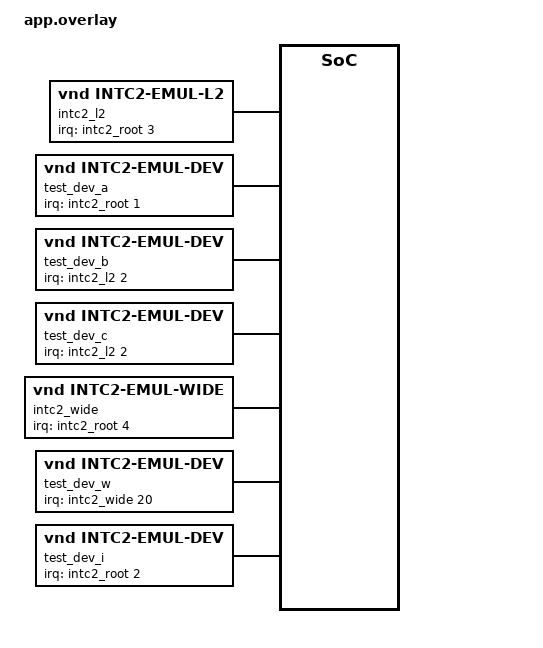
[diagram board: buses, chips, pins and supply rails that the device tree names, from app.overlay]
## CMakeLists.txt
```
# SPDX-License-Identifier: Apache-2.0

cmake_minimum_required(VERSION 3.20.0)
find_package(Zephyr REQUIRED HINTS $ENV{ZEPHYR_BASE})
project(intc2)

FILE(GLOB app_sources src/*.c)
list(FILTER app_sources EXCLUDE REGEX "emul_alloc_intc\\.c$")
target_sources(app PRIVATE ${app_sources})

if(CONFIG_INTC2_ALLOC)
  target_sources(app PRIVATE src/emul_alloc_intc.c)
endif()
```

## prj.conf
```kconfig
CONFIG_ZTEST=y
CONFIG_INTC2=y
CONFIG_IRQ_OFFLOAD=y
# This suite exercises the generic software-dispatch-table mechanism
# with its own emulated controllers; on x86 the real IOAPIC/LOAPIC are
# self-dispatching (INTC2_ARCH_VECTORED), which is incompatible with
# table-based nodes, so keep the platform APIC intc2 nodes out of it
# (x86's real intc2 path is covered by intc_x86_apic_intc2).
CONFIG_INTC2_X86_APIC=n
```

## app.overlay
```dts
/*
 * Copyright (c) 2026 Yong Cong Sin <yongcong.sin@gmail.com>
 *
 * SPDX-License-Identifier: Apache-2.0
 */

/ {
	intc2_root: intc2-root {
		compatible = "vnd,intc2-emul";
		interrupt-controller;
		#interrupt-cells = <1>;
	};

	intc2_l2: intc2-l2 {
		compatible = "vnd,intc2-emul-l2";
		interrupt-controller;
		#interrupt-cells = <2>;
		interrupts-extended = <&intc2_root 3>;
	};

	test_dev_a: test-dev-a {
		compatible = "vnd,intc2-emul-dev";
		interrupts-extended = <&intc2_root 1>;
	};

	test_dev_b: test-dev-b {
		compatible = "vnd,intc2-emul-dev";
		interrupts-extended = <&intc2_l2 2 5>;
	};

	/* Shares intc2_l2 line 2 with test_dev_b; only connected when
	 * CONFIG_INTC2_SHARED is enabled.
	 */
	test_dev_c: test-dev-c {
		compatible = "vnd,intc2-emul-dev";
		interrupts-extended = <&intc2_l2 2 6>;
	};

	/* 32-line controller with a single consumer: gets a sparse
	 * dispatch table (unless CONFIG_INTC2_DYNAMIC forces dense).
	 */
	intc2_wide: intc2-wide {
		compatible = "vnd,intc2-emul-wide";
		interrupt-controller;
		#interrupt-cells = <2>;
		interrupts-extended = <&intc2_root 4>;
	};

	test_dev_w: test-dev-w {
		compatible = "vnd,intc2-emul-dev";
		interrupts-extended = <&intc2_wide 20 3>;
	};

	/* Connected from function position via INTC2_DT_CONNECT_INLINE() */
	test_dev_i: test-dev-i {
		compatible = "vnd,intc2-emul-dev";
		interrupts-extended = <&intc2_root 2>;
	};
};
```

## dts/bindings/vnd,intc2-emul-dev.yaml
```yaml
# Copyright (c) 2026 Yong Cong Sin <yongcong.sin@gmail.com>
# SPDX-License-Identifier: Apache-2.0

description: Emulated intc2 leaf interrupt consumer (test only)

compatible: "vnd,intc2-emul-dev"

include: base.yaml
```

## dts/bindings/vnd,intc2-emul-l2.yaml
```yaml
# Copyright (c) 2026 Yong Cong Sin <yongcong.sin@gmail.com>
# SPDX-License-Identifier: Apache-2.0

description: Emulated intc2 chained interrupt controller (test only)

compatible: "vnd,intc2-emul-l2"

include: [interrupt-controller.yaml, base.yaml]

properties:
  "#interrupt-cells":
    const: 2

interrupt-cells:
  - irq
  - priority
```

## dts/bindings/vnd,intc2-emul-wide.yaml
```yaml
# Copyright (c) 2026 Yong Cong Sin <yongcong.sin@gmail.com>
# SPDX-License-Identifier: Apache-2.0

description: Emulated intc2 wide (32-line) chained interrupt controller (test only)

compatible: "vnd,intc2-emul-wide"

include: [interrupt-controller.yaml, base.yaml]

properties:
  "#interrupt-cells":
    const: 2

interrupt-cells:
  - irq
  - priority
```

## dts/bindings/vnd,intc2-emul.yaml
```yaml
# Copyright (c) 2026 Yong Cong Sin <yongcong.sin@gmail.com>
# SPDX-License-Identifier: Apache-2.0

description: Emulated intc2 root interrupt controller (test only)

compatible: "vnd,intc2-emul"

include: [interrupt-controller.yaml, base.yaml]

properties:
  "#interrupt-cells":
    const: 1

interrupt-cells:
  - irq
```

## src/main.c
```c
/*
 * Copyright (c) 2026 Yong Cong Sin <yongcong.sin@gmail.com>
 *
 * SPDX-License-Identifier: Apache-2.0
 */

#include "emul_intc.h"
#ifdef CONFIG_INTC2_ALLOC
#include "emul_alloc_intc.h"
#endif

#include <zephyr/intc2.h>
#include <zephyr/irq_offload.h>
#include <zephyr/ztest.h>
#ifdef CONFIG_INTC2_SHELL
#include <zephyr/shell/shell.h>
#include <zephyr/shell/shell_dummy.h>
#endif

#define ROOT_NODE  DT_NODELABEL(intc2_root)
#define L2_NODE    DT_NODELABEL(intc2_l2)
#define DEV_A_NODE DT_NODELABEL(test_dev_a)
#define DEV_B_NODE DT_NODELABEL(test_dev_b)
#define DEV_C_NODE DT_NODELABEL(test_dev_c)

#define WIDE_NODE  DT_NODELABEL(intc2_wide)
#define DEV_W_NODE DT_NODELABEL(test_dev_w)

#define ROOT INTC2_NODE_DT_GET(ROOT_NODE)
#define L2   INTC2_NODE_DT_GET(L2_NODE)
#define WIDE INTC2_NODE_DT_GET(WIDE_NODE)

#define DEV_A_PRIO 2

static const uint32_t a_token;

static volatile uint32_t seq;
static volatile uint32_t a_count, b_count, c_count, dyn_count;
static volatile uint32_t b_seq, c_seq;
static volatile const void *a_arg;
static volatile uint32_t spurious_count;

/* Overrides the __weak fatal-error default so tests can observe it */
void z_intc2_spurious(const struct intc2_node *node, int32_t line)
{
	ARG_UNUSED(node);
	ARG_UNUSED(line);

	spurious_count++;
}

static void dev_a_isr(const void *arg)
{
	a_count++;
	a_arg = arg;
	seq++;
}

static void dev_b_isr(const void *arg)
{
	ARG_UNUSED(arg);

	b_count++;
	b_seq = seq++;
}

INTC2_DT_CONNECT(DEV_A_NODE, DEV_A_PRIO, dev_a_isr, &a_token, 0);
INTC2_DT_CONNECT(DEV_B_NODE, DT_IRQ_BY_IDX(DEV_B_NODE, 0, priority), dev_b_isr, NULL, 0);

static volatile uint32_t w_count;

static void dev_w_isr(const void *arg)
{
	ARG_UNUSED(arg);

	w_count++;
}

INTC2_DT_CONNECT(DEV_W_NODE, DT_IRQ_BY_IDX(DEV_W_NODE, 0, priority), dev_w_isr, NULL, 0);

#ifdef CONFIG_INTC2_SHARED
static void dev_c_isr(const void *arg)
{
	ARG_UNUSED(arg);

	c_count++;
	c_seq = seq++;
}

INTC2_DT_CONNECT(DEV_C_NODE, DT_IRQ_BY_IDX(DEV_C_NODE, 0, priority), dev_c_isr, NULL, 0);
#endif /* CONFIG_INTC2_SHARED */

static void dispatch_root(const void *arg)
{
	ARG_UNUSED(arg);

	intc2_dispatch(ROOT);
}

/* Raise a line, then dispatch from interrupt context via irq_offload() */
static void trigger(const struct intc2_node *node, uint32_t line)
{
	emul_intc_raise(node, line);
	irq_offload(dispatch_root, NULL);
}

static void intc2_test_before(void *fixture)
{
	ARG_UNUSED(fixture);

	emul_intc_regs(ROOT)->pending = 0;
	emul_intc_regs(L2)->pending = 0;
	emul_intc_regs(WIDE)->pending = 0;
	seq = 0;
	a_count = 0;
	b_count = 0;
	c_count = 0;
	w_count = 0;
	dyn_count = 0;
	spurious_count = 0;
}

ZTEST_SUITE(intc2_base, NULL, NULL, intc2_test_before, NULL, NULL);

ZTEST(intc2_base, test_spec_resolution)
{
	static const struct intc2_spec spec_a = INTC2_DT_SPEC_GET(DEV_A_NODE);
	static const struct intc2_spec spec_b = INTC2_DT_SPEC_GET(DEV_B_NODE);

	zassert_equal(spec_a.node, ROOT);
	zassert_equal(spec_a.line, 1);
	zassert_equal(spec_b.node, L2);
	zassert_equal(spec_b.line, 2);
	zassert_is_null(ROOT->parent.node, "root must have no parent");
	zassert_equal(L2->parent.node, ROOT);
	zassert_equal(L2->parent.line, 3);
}

ZTEST(intc2_base, test_boot_init)
{
	zassert_true(emul_intc_regs(ROOT)->inited, "root init op not called");
	zassert_true(emul_intc_regs(L2)->inited, "l2 init op not called");

	/* the chained node's upstream edge is enabled during boot */
	zassert_true((emul_intc_regs(ROOT)->enable & BIT(3)) != 0U,
		     "l2 parent line not enabled at boot");

	/* static connect priorities were applied from generated const data */
	zassert_equal(emul_intc_regs(ROOT)->prio[1], DEV_A_PRIO);
#ifdef CONFIG_INTC2_SHARED
	/* two clients on l2 line 2: the last registration's priority wins */
	zassert_equal(emul_intc_regs(L2)->prio[2],
		      DT_IRQ_BY_IDX(DEV_C_NODE, 0, priority));
#else
	zassert_equal(emul_intc_regs(L2)->prio[2],
		      DT_IRQ_BY_IDX(DEV_B_NODE, 0, priority));
#endif
}

ZTEST(intc2_base, test_enable_disable)
{
	struct intc2_spec spec_a = INTC2_DT_SPEC_GET(DEV_A_NODE);

	intc2_enable(spec_a);
	zassert_true(intc2_is_enabled(spec_a));
	zassert_true((emul_intc_regs(ROOT)->enable & BIT(1)) != 0U);

	intc2_disable(spec_a);
	zassert_false(intc2_is_enabled(spec_a));
	zassert_true((emul_intc_regs(ROOT)->enable & BIT(1)) == 0U);
}

ZTEST(intc2_base, test_line_flags)
{
	struct intc2_spec spec = INTC2_DT_SPEC_GET(DEV_A_NODE);
	struct intc2_spec l2spec = {.node = L2, .line = 0};

	zassert_equal(intc2_line_flags(spec), 0);

	emul_intc_regs(ROOT)->line_flags = INTC2_LINE_BANKED | INTC2_LINE_FIXED_ENABLE;
	zassert_equal(intc2_line_flags(spec), INTC2_LINE_BANKED | INTC2_LINE_FIXED_ENABLE);
	emul_intc_regs(ROOT)->line_flags = 0;

	/* controllers without the op report no attributes */
	zassert_equal(intc2_line_flags(l2spec), 0);
}

ZTEST(intc2_base, test_set_priority)
{
	struct intc2_spec spec_a = INTC2_DT_SPEC_GET(DEV_A_NODE);

	zassert_ok(intc2_set_priority(spec_a, 7, 0));
	zassert_equal(emul_intc_regs(ROOT)->prio[1], 7);
	zassert_ok(intc2_set_priority(spec_a, DEV_A_PRIO, 0));
}

ZTEST(intc2_base, test_dispatch_level1)
{
	struct intc2_spec spec_a = INTC2_DT_SPEC_GET(DEV_A_NODE);
	uint32_t eoi = emul_intc_regs(ROOT)->eoi_cnt;

	intc2_enable(spec_a);
	trigger(ROOT, 1);

	zassert_equal(a_count, 1, "ISR not invoked exactly once");
	zassert_equal_ptr((const void *)a_arg, &a_token, "wrong ISR argument");
	zassert_equal(emul_intc_regs(ROOT)->eoi_cnt, eoi + 1, "no EOI");

	intc2_disable(spec_a);
}

ZTEST(intc2_base, test_dispatch_level2)
{
	struct intc2_spec spec_b = INTC2_DT_SPEC_GET(DEV_B_NODE);
	uint32_t root_eoi = emul_intc_regs(ROOT)->eoi_cnt;
	uint32_t l2_eoi = emul_intc_regs(L2)->eoi_cnt;

	intc2_enable(spec_b);
	trigger(L2, 2);

	zassert_equal(b_count, 1, "chained ISR not invoked exactly once");
	zassert_equal(emul_intc_regs(ROOT)->eoi_cnt, root_eoi + 1, "no root EOI");
	zassert_equal(emul_intc_regs(L2)->eoi_cnt, l2_eoi + 1, "no l2 EOI");

	intc2_disable(spec_b);
}

static volatile uint32_t i_count;

static void dev_i_isr(const void *arg)
{
	ARG_UNUSED(arg);

	i_count++;
}

/* Mimics a legacy per-instance driver configuration function */
static void dev_i_config_func(void)
{
	INTC2_DT_CONNECT_INLINE(DT_NODELABEL(test_dev_i), 1, dev_i_isr, NULL, 0);
	intc2_enable((struct intc2_spec)INTC2_DT_SPEC_GET(DT_NODELABEL(test_dev_i)));
}

ZTEST(intc2_base, test_inline_connect)
{
	i_count = 0;
	dev_i_config_func();
	trigger(ROOT, 2);
	zassert_equal(i_count, 1, "inline-connected ISR not invoked exactly once");
	intc2_disable((struct intc2_spec)INTC2_DT_SPEC_GET(DT_NODELABEL(test_dev_i)));
}

ZTEST(intc2_base, test_wide_dispatch)
{
	struct intc2_spec spec_w = INTC2_DT_SPEC_GET(DEV_W_NODE);

	/* sparse unless CONFIG_INTC2_DYNAMIC forces the dense layout */
	if (!IS_ENABLED(CONFIG_INTC2_DYNAMIC)) {
		zassert_not_null(WIDE->lines, "wide node table should be sparse");
		zassert_equal(WIDE->lines[0], 1);
		zassert_equal(WIDE->lines[1], 20);
	} else {
		zassert_is_null(WIDE->lines, "dynamic must force dense tables");
	}

	zassert_equal(spec_w.node, WIDE);
	zassert_equal(spec_w.line, 20);
	zassert_true(emul_intc_regs(WIDE)->inited);
	zassert_equal(emul_intc_regs(WIDE)->prio[20],
		      DT_IRQ_BY_IDX(DEV_W_NODE, 0, priority));

	intc2_enable(spec_w);
	trigger(WIDE, 20);
	zassert_equal(w_count, 1, "sparse-table ISR not invoked exactly once");
	intc2_disable(spec_w);
}

ZTEST(intc2_base, test_wide_spurious_miss)
{
	struct intc2_spec unconnected = {.node = WIDE, .line = 7};

	intc2_enable(unconnected);
	trigger(WIDE, 7);
	zassert_equal(spurious_count, 1, "sparse lookup miss must be spurious");
	intc2_disable(unconnected);
}

ZTEST(intc2_base, test_spurious)
{
	struct intc2_spec unconnected = {.node = ROOT, .line = 6};

	intc2_enable(unconnected);
	trigger(ROOT, 6);

	zassert_equal(spurious_count, 1, "spurious handler not invoked");

	intc2_disable(unconnected);
}

#ifdef CONFIG_INTC2_SHARED
ZTEST_SUITE(intc2_shared, NULL, NULL, intc2_test_before, NULL, NULL);

ZTEST(intc2_shared, test_fanin_both_clients)
{
	struct intc2_spec spec_b = INTC2_DT_SPEC_GET(DEV_B_NODE);
	uint32_t l2_eoi = emul_intc_regs(L2)->eoi_cnt;

	intc2_enable(spec_b);
	trigger(L2, 2);

	zassert_equal(b_count, 1, "first client not invoked");
	zassert_equal(c_count, 1, "second client not invoked");
	zassert_true(b_seq < c_seq, "clients not invoked in registration order");
	zassert_equal(emul_intc_regs(L2)->eoi_cnt, l2_eoi + 1,
		      "shared line must EOI exactly once");

	intc2_disable(spec_b);
}
#endif /* CONFIG_INTC2_SHARED */

#ifdef CONFIG_INTC2_DYNAMIC
static void dyn_isr(const void *arg)
{
	ARG_UNUSED(arg);

	dyn_count++;
}

ZTEST_SUITE(intc2_dynamic, NULL, NULL, intc2_test_before, NULL, NULL);

ZTEST(intc2_dynamic, test_connect_dispatch_disconnect)
{
	struct intc2_spec spec = {.node = ROOT, .line = 5};

	zassert_ok(intc2_connect_dynamic(spec, 4, dyn_isr, NULL, 0));
	zassert_equal(emul_intc_regs(ROOT)->prio[5], 4, "dynamic priority not applied");

	intc2_enable(spec);
	trigger(ROOT, 5);
	zassert_equal(dyn_count, 1, "dynamic ISR not invoked");

	zassert_ok(intc2_disconnect_dynamic(spec, dyn_isr, NULL));
	trigger(ROOT, 5);
	zassert_equal(dyn_count, 1, "ISR invoked after disconnect");
	zassert_equal(spurious_count, 1, "disconnected line must be spurious");

	intc2_disable(spec);
}

ZTEST(intc2_dynamic, test_connect_busy)
{
	/* line 1 of the root is statically connected to dev_a_isr */
	struct intc2_spec spec = {.node = ROOT, .line = 1};

	zassert_equal(intc2_connect_dynamic(spec, 0, dyn_isr, NULL, 0), -EBUSY);
}

ZTEST(intc2_dynamic, test_disconnect_mismatch)
{
	struct intc2_spec spec = {.node = ROOT, .line = 5};

	zassert_ok(intc2_connect_dynamic(spec, 0, dyn_isr, NULL, 0));
	zassert_equal(intc2_disconnect_dynamic(spec, dev_a_isr, NULL), -EINVAL,
		      "mismatched ISR must not disconnect");
	zassert_ok(intc2_disconnect_dynamic(spec, dyn_isr, NULL));
}

ZTEST(intc2_dynamic, test_connect_out_of_range)
{
	struct intc2_spec spec = {.node = ROOT, .line = EMUL_INTC_NLINES};

	zassert_equal(intc2_connect_dynamic(spec, 0, dyn_isr, NULL, 0), -EINVAL);
}
#endif /* CONFIG_INTC2_DYNAMIC */

ZTEST_SUITE(intc2_affinity, NULL, NULL, intc2_test_before, NULL, NULL);

ZTEST(intc2_affinity, test_affinity_roundtrip)
{
#ifndef CONFIG_INTC2_AFFINITY
	ztest_test_skip();
#else
	struct intc2_spec spec = INTC2_DT_SPEC_GET(DEV_A_NODE);
	uint32_t mask = 0xa5a5a5a5;

	zassert_equal(spec.node->flags & INTC2_NODE_AFFINITY_MASK,
		      INTC2_NODE_AFFINITY_MULTI_TARGET);

	/* the controller applies the boot default in its init op */
	zassert_ok(intc2_get_affinity(spec, &mask));
	zassert_equal(mask, CONFIG_INTC2_AFFINITY_DEFAULT_MASK);

	zassert_ok(intc2_set_affinity(spec, BIT(0)));
	zassert_ok(intc2_get_affinity(spec, &mask));
	zassert_equal(mask, BIT(0));

	/* routing does not disturb dispatch */
	intc2_enable(spec);
	trigger(ROOT, spec.line);
	zassert_equal(a_count, 1);
	intc2_disable(spec);
#endif
}

ZTEST(intc2_affinity, test_affinity_bad_mask)
{
#ifndef CONFIG_INTC2_AFFINITY
	ztest_test_skip();
#else
	struct intc2_spec spec = INTC2_DT_SPEC_GET(DEV_A_NODE);

	/* empty masks are rejected in the core */
	zassert_equal(intc2_set_affinity(spec, 0), -EINVAL);

	/* unreachable CPUs are rejected by the controller */
	zassert_equal(intc2_set_affinity(spec, BIT(31)), -EINVAL);
#endif
}

ZTEST(intc2_affinity, test_affinity_fixed_routing)
{
#ifndef CONFIG_INTC2_AFFINITY
	ztest_test_skip();
#else
	struct intc2_spec spec = {.node = L2, .line = 0};
	uint32_t mask;

	zassert_equal(spec.node->flags & INTC2_NODE_AFFINITY_MASK, 0);
	zassert_equal(intc2_set_affinity(spec, BIT(0)), -ENOTSUP);
	zassert_equal(intc2_get_affinity(spec, &mask), -ENOTSUP);
#endif
}

#ifdef CONFIG_INTC2_ALLOC

#define ALLOC_NODE (&emul_alloc_intc_node)

static volatile uint32_t alloc_a_count, alloc_b_count;
static volatile const void *alloc_a_arg;

static void alloc_a_isr(const void *arg)
{
	alloc_a_count++;
	alloc_a_arg = arg;
}

static void alloc_b_isr(const void *arg)
{
	ARG_UNUSED(arg);

	alloc_b_count++;
}

static void intc2_alloc_test_before(void *fixture)
{
	ARG_UNUSED(fixture);

	alloc_a_count = 0;
	alloc_b_count = 0;
	emul_alloc_intc_reset();
}

ZTEST_SUITE(intc2_alloc, NULL, NULL, intc2_alloc_test_before, NULL, NULL);

ZTEST(intc2_alloc, test_alloc_connect_dispatch)
{
	struct intc2_spec spec;
	static const uint32_t token = 0x5a;

	zassert_equal(ALLOC_NODE->flags & INTC2_NODE_ALLOC, INTC2_NODE_ALLOC);

	zassert_ok(intc2_line_alloc(ALLOC_NODE, 1, 0, alloc_a_isr, &token, &spec));
	zassert_equal(spec.node, ALLOC_NODE);

	zassert_equal(intc2_is_enabled(spec), 0);
	intc2_enable(spec);
	zassert_true(intc2_is_enabled(spec) != 0);

	emul_alloc_intc_fire(spec.line);
	zassert_equal(alloc_a_count, 1);
	zassert_equal_ptr((const void *)alloc_a_arg, &token);

	intc2_disable(spec);
	zassert_equal(intc2_is_enabled(spec), 0);

	/* disabled lines don't dispatch */
	emul_alloc_intc_fire(spec.line);
	zassert_equal(alloc_a_count, 1);
}

ZTEST(intc2_alloc, test_alloc_distinct_lines)
{
	struct intc2_spec spec_a, spec_b;

	zassert_ok(intc2_line_alloc(ALLOC_NODE, 1, 0, alloc_a_isr, NULL, &spec_a));
	zassert_ok(intc2_line_alloc(ALLOC_NODE, 1, 0, alloc_b_isr, NULL, &spec_b));
	zassert_not_equal(spec_a.line, spec_b.line);

	intc2_enable(spec_a);
	intc2_enable(spec_b);

	emul_alloc_intc_fire(spec_a.line);
	zassert_equal(alloc_a_count, 1);
	zassert_equal(alloc_b_count, 0);

	emul_alloc_intc_fire(spec_b.line);
	zassert_equal(alloc_a_count, 1);
	zassert_equal(alloc_b_count, 1);

	intc2_disable(spec_a);
	intc2_disable(spec_b);
}

ZTEST(intc2_alloc, test_alloc_exhaustion)
{
	struct intc2_spec spec;
	int allocated = 0;
	int ret;

	do {
		ret = intc2_line_alloc(ALLOC_NODE, 1, 0, alloc_a_isr, NULL, &spec);
		if (ret == 0) {
			allocated++;
		}
	} while ((ret == 0) && (allocated <= EMUL_ALLOC_INTC_NLINES));

	zassert_equal(ret, -ENOMEM, "allocator did not report exhaustion");
	zassert_equal(allocated, EMUL_ALLOC_INTC_NLINES);
}

ZTEST(intc2_alloc, test_alloc_not_supported_on_non_alloc_node)
{
	struct intc2_spec spec;

	/* the L2 node has no INTC2_NODE_ALLOC flag and no alloc op */
	zassert_equal(L2->flags & INTC2_NODE_ALLOC, 0);
	zassert_equal(intc2_line_alloc(L2, 1, 0, alloc_a_isr, NULL, &spec), -ENOTSUP);
}

ZTEST(intc2_alloc, test_msi_alloc)
{
#ifndef CONFIG_INTC2_MSI
	ztest_test_skip();
#else
	struct intc2_spec spec;
	struct intc2_msi msg = {0};

	zassert_ok(intc2_msi_alloc(ALLOC_NODE, 1, 0, alloc_a_isr, NULL, &spec, &msg));
	zassert_not_equal(msg.address, 0);

	intc2_enable(spec);
	emul_alloc_intc_fire(spec.line);
	zassert_equal(alloc_a_count, 1);
	intc2_disable(spec);
#endif
}

ZTEST(intc2_alloc, test_msi_alloc_not_supported_on_plain_alloc_node)
{
#ifdef CONFIG_INTC2_MSI
	ztest_test_skip();
#else
	struct intc2_spec spec;
	struct intc2_msi msg;

	/* CONFIG_INTC2_MSI is disabled: the call must report -ENOSYS */
	zassert_equal(intc2_msi_alloc(ALLOC_NODE, 1, 0, alloc_a_isr, NULL, &spec, &msg), -ENOSYS);
#endif
}

#endif /* CONFIG_INTC2_ALLOC */

#ifdef CONFIG_INTC2_SHELL

static void *intc2_shell_setup(void)
{
	/* let the shell backend initialize before the first command */
	k_usleep(10);

	return NULL;
}

ZTEST_SUITE(intc2_shell, NULL, intc2_shell_setup, NULL, NULL, NULL);

static const char *exec(const char *cmd)
{
	const struct shell *sh = shell_backend_dummy_get_ptr();
	size_t size;

	shell_backend_dummy_clear_output(sh);
	zassert_ok(shell_execute_cmd(sh, cmd), "shell command failed: %s", cmd);

	return shell_backend_dummy_get_output(sh, &size);
}

ZTEST(intc2_shell, test_list)
{
	const char *out = exec("intc2 list");

	zassert_not_null(strstr(out, "intc2-root"), "root node missing from 'intc2 list'");
	zassert_not_null(strstr(out, "intc2-l2"), "l2 node missing from 'intc2 list'");
}

ZTEST(intc2_shell, test_affinity_get_set)
{
	if (!IS_ENABLED(CONFIG_INTC2_AFFINITY)) {
		ztest_test_skip();
	}

	/* mask must stay within CONFIG_MP_MAX_NUM_CPUS (1 on this build) */
	zassert_not_null(strstr(exec("intc2 affinity get intc2-root 1"), "0x1"));
	zassert_not_null(strstr(exec("intc2 affinity set intc2-root 1 0x1"), "0x1"));
	zassert_not_null(strstr(exec("intc2 affinity get intc2-root 1"), "0x1"));

	/* the l2 node's api has no set_affinity/get_affinity ops */
	const struct shell *sh = shell_backend_dummy_get_ptr();

	zassert_not_equal(shell_execute_cmd(sh, "intc2 affinity get intc2-l2 0"), 0);
}

ZTEST(intc2_shell, test_unknown_node)
{
	const struct shell *sh = shell_backend_dummy_get_ptr();

	zassert_not_equal(shell_execute_cmd(sh, "intc2 affinity get no-such-node 0"), 0);
}

#endif /* CONFIG_INTC2_SHELL */
```

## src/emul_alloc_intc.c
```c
/*
 * Copyright (c) 2026 Yong Cong Sin <yongcong.sin@gmail.com>
 *
 * SPDX-License-Identifier: Apache-2.0
 */

#include "emul_alloc_intc.h"

#include <errno.h>
#include <string.h>

#include <zephyr/device.h>
#include <zephyr/kernel.h>
#include <zephyr/sys/util.h>

static struct intc2_entry emul_alloc_table[EMUL_ALLOC_INTC_NLINES];
static uint32_t emul_alloc_used;
static uint32_t emul_alloc_enabled;

static void emul_alloc_enable(const struct intc2_node *node, uint32_t line)
{
	ARG_UNUSED(node);

	emul_alloc_enabled |= BIT(line);
}

static void emul_alloc_disable(const struct intc2_node *node, uint32_t line)
{
	ARG_UNUSED(node);

	emul_alloc_enabled &= ~BIT(line);
}

static int emul_alloc_is_enabled(const struct intc2_node *node, uint32_t line)
{
	ARG_UNUSED(node);

	return (emul_alloc_enabled & BIT(line)) != 0U;
}

static int emul_alloc_alloc(const struct intc2_node *node, uint32_t prio, uint32_t flags,
			    void (*isr)(const void *arg), const void *arg,
			    struct intc2_spec *spec)
{
	uint32_t free_mask = (~emul_alloc_used) & BIT_MASK(EMUL_ALLOC_INTC_NLINES);
	uint32_t line;

	ARG_UNUSED(prio);
	ARG_UNUSED(flags);

	if (free_mask == 0U) {
		return -ENOMEM;
	}

	line = (uint32_t)(find_lsb_set(free_mask) - 1);
	emul_alloc_used |= BIT(line);
	emul_alloc_table[line].isr = isr;
	emul_alloc_table[line].arg = arg;

	spec->node = node;
	spec->line = line;

	return 0;
}

#ifdef CONFIG_INTC2_MSI
static int emul_alloc_msi_alloc(const struct intc2_node *node, uint32_t prio, uint32_t flags,
				void (*isr)(const void *arg), const void *arg,
				struct intc2_spec *spec, struct intc2_msi *msg)
{
	int ret = emul_alloc_alloc(node, prio, flags, isr, arg, spec);

	if (ret != 0) {
		return ret;
	}

	/*
	 * Synthetic message target in the x86 MSI address/data shape
	 * (pcie_msi_map()/pcie_msi_mdr()); there is no real doorbell
	 * behind this emulated node.
	 */
	msg->address = 0xfee00000ULL | ((uint64_t)spec->line << 12);
	msg->data = 0x4000U | spec->line;

	return 0;
}
#endif /* CONFIG_INTC2_MSI */

static DEVICE_API(intc2, emul_alloc_api) = {
	.enable = emul_alloc_enable,
	.disable = emul_alloc_disable,
	.is_enabled = emul_alloc_is_enabled,
	.alloc = emul_alloc_alloc,
#ifdef CONFIG_INTC2_MSI
	.msi_alloc = emul_alloc_msi_alloc,
#endif
};

const struct intc2_node emul_alloc_intc_node = {
	.api = &emul_alloc_api,
	.config = NULL,
	.table = NULL,
	.lines = NULL,
	.nlines = EMUL_ALLOC_INTC_NLINES,
	.flags = INTC2_NODE_ALLOC,
	.parent = {NULL, 0},
};

void emul_alloc_intc_fire(uint32_t line)
{
	struct intc2_entry *entry = &emul_alloc_table[line];

	if (((emul_alloc_enabled & BIT(line)) == 0U) || (entry->isr == NULL)) {
		return;
	}

	entry->isr(entry->arg);
}

void emul_alloc_intc_reset(void)
{
	emul_alloc_used = 0;
	emul_alloc_enabled = 0;
	memset(emul_alloc_table, 0, sizeof(emul_alloc_table));
}
```

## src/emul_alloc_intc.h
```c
/*
 * Copyright (c) 2026 Yong Cong Sin <yongcong.sin@gmail.com>
 *
 * SPDX-License-Identifier: Apache-2.0
 */

#ifndef TESTS_KERNEL_INTC2_SRC_EMUL_ALLOC_INTC_H_
#define TESTS_KERNEL_INTC2_SRC_EMUL_ALLOC_INTC_H_

#include <zephyr/intc2.h>

#define EMUL_ALLOC_INTC_NLINES 4

/*
 * A bare, devicetree-less allocator node (design deltas D1/D2):
 * exercises the intc2_line_alloc()/intc2_msi_alloc() contract against
 * a synthetic bitmap-backed line pool, mirroring how a real vector
 * allocator (a CPU's dynamic vector pool, an MSI doorbell) has no
 * devicetree representation to allocate from either.
 */
extern const struct intc2_node emul_alloc_intc_node;

/*
 * Simulate the allocated line firing: invokes the connected ISR
 * exactly like a real hardware vector would, if the line is enabled.
 */
void emul_alloc_intc_fire(uint32_t line);

/* Free every allocated line and clear enable state, for test isolation */
void emul_alloc_intc_reset(void);

#endif /* TESTS_KERNEL_INTC2_SRC_EMUL_ALLOC_INTC_H_ */
```

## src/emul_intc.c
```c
/*
 * Copyright (c) 2026 Yong Cong Sin <yongcong.sin@gmail.com>
 *
 * SPDX-License-Identifier: Apache-2.0
 */

#include "emul_intc.h"

#include <zephyr/device.h>
#include <zephyr/kernel.h>
#include <zephyr/sys/util.h>

static void emul_intc_enable(const struct intc2_node *node, uint32_t line)
{
	emul_intc_regs(node)->enable |= BIT(line);
}

static void emul_intc_disable(const struct intc2_node *node, uint32_t line)
{
	emul_intc_regs(node)->enable &= ~BIT(line);
}

static int emul_intc_is_enabled(const struct intc2_node *node, uint32_t line)
{
	return (emul_intc_regs(node)->enable & BIT(line)) != 0U;
}

static uint32_t emul_intc_line_flags(const struct intc2_node *node, uint32_t line)
{
	ARG_UNUSED(line);

	return emul_intc_regs(node)->line_flags;
}

static int emul_intc_set_priority(const struct intc2_node *node, uint32_t line,
				  uint32_t prio, uint32_t flags)
{
	ARG_UNUSED(flags);

	if (line >= node->nlines) {
		return -EINVAL;
	}

	emul_intc_regs(node)->prio[line] = (uint8_t)prio;

	return 0;
}

static int32_t emul_intc_get_pending(const struct intc2_node *node)
{
	struct emul_intc_regs *regs = emul_intc_regs(node);
	uint32_t active = regs->pending & regs->enable;

	if (active == 0U) {
		return -1;
	}

	/* claim the highest-numbered active line */
	{
		uint32_t line = (uint32_t)(find_msb_set(active) - 1);

		regs->pending &= ~BIT(line);
		return (int32_t)line;
	}
}

static void emul_intc_eoi(const struct intc2_node *node, uint32_t line)
{
	ARG_UNUSED(line);

	emul_intc_regs(node)->eoi_cnt++;
}

#ifdef CONFIG_INTC2_AFFINITY
static int emul_intc_set_affinity(const struct intc2_node *node, uint32_t line, uint32_t cpumask)
{
	if (line >= node->nlines) {
		return -EINVAL;
	}

	if ((cpumask & ~(uint32_t)BIT_MASK(CONFIG_MP_MAX_NUM_CPUS)) != 0U) {
		return -EINVAL;
	}

	emul_intc_regs(node)->cpumask[line] = cpumask;

	return 0;
}

static int emul_intc_get_affinity(const struct intc2_node *node, uint32_t line, uint32_t *cpumask)
{
	if (line >= node->nlines) {
		return -EINVAL;
	}

	*cpumask = emul_intc_regs(node)->cpumask[line];

	return 0;
}
#endif /* CONFIG_INTC2_AFFINITY */

static void emul_intc_init(const struct intc2_node *node)
{
	struct emul_intc_regs *regs = emul_intc_regs(node);

#ifdef CONFIG_INTC2_AFFINITY
	for (uint32_t line = 0; line < node->nlines; line++) {
		regs->cpumask[line] = CONFIG_INTC2_AFFINITY_DEFAULT_MASK;
	}
#endif

	regs->inited = true;
}

static DEVICE_API(intc2, emul_intc_api) = {
	.enable = emul_intc_enable,
	.disable = emul_intc_disable,
	.is_enabled = emul_intc_is_enabled,
	.line_flags = emul_intc_line_flags,
	.set_priority = emul_intc_set_priority,
#ifdef CONFIG_INTC2_AFFINITY
	.set_affinity = emul_intc_set_affinity,
	.get_affinity = emul_intc_get_affinity,
#endif
	.get_pending = emul_intc_get_pending,
	.eoi = emul_intc_eoi,
	.init = emul_intc_init,
};

/* Fixed-routing variant so tests cover the -ENOTSUP affinity path */
static DEVICE_API(intc2, emul_intc_fixed_api) = {
	.enable = emul_intc_enable,
	.disable = emul_intc_disable,
	.is_enabled = emul_intc_is_enabled,
	.set_priority = emul_intc_set_priority,
	.get_pending = emul_intc_get_pending,
	.eoi = emul_intc_eoi,
	.init = emul_intc_init,
};

void emul_intc_raise(const struct intc2_node *node, uint32_t line)
{
	struct emul_intc_regs *regs = emul_intc_regs(node);

	regs->pending |= BIT(line);

	/* aggregated output asserts the parent line when unmasked */
	if (((regs->pending & regs->enable) != 0U) && (node->parent.node != NULL)) {
		emul_intc_raise(node->parent.node, node->parent.line);
	}
}

/* Routable nodes carry the multi-target capability class */
#define EMUL_INTC_NODE_FLAGS                                                                       \
	(IS_ENABLED(CONFIG_INTC2_AFFINITY) ? INTC2_NODE_AFFINITY_MULTI_TARGET : 0)

#define EMUL_INTC_DEFINE_N(node_id, nlines, api_, flags_)                                          \
	static struct emul_intc_regs _CONCAT(emul_regs_, DT_DEP_ORD(node_id));                     \
	INTC2_NODE_DT_DEFINE(node_id, api_, &_CONCAT(emul_regs_, DT_DEP_ORD(node_id)),             \
			     nlines, flags_);

#define EMUL_INTC_DEFINE(node_id)                                                                  \
	EMUL_INTC_DEFINE_N(node_id, EMUL_INTC_NLINES, &emul_intc_api, EMUL_INTC_NODE_FLAGS)
#define EMUL_INTC_FIXED_DEFINE(node_id)                                                            \
	EMUL_INTC_DEFINE_N(node_id, EMUL_INTC_NLINES, &emul_intc_fixed_api, 0)
#define EMUL_INTC_WIDE_DEFINE(node_id)                                                             \
	EMUL_INTC_DEFINE_N(node_id, EMUL_INTC_WIDE_NLINES, &emul_intc_api, EMUL_INTC_NODE_FLAGS)

DT_FOREACH_STATUS_OKAY(vnd_intc2_emul, EMUL_INTC_DEFINE)
DT_FOREACH_STATUS_OKAY(vnd_intc2_emul_l2, EMUL_INTC_FIXED_DEFINE)
DT_FOREACH_STATUS_OKAY(vnd_intc2_emul_wide, EMUL_INTC_WIDE_DEFINE)
```

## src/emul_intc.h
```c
/*
 * Copyright (c) 2026 Yong Cong Sin <yongcong.sin@gmail.com>
 *
 * SPDX-License-Identifier: Apache-2.0
 */

#ifndef TESTS_KERNEL_INTC2_SRC_EMUL_INTC_H_
#define TESTS_KERNEL_INTC2_SRC_EMUL_INTC_H_

#include <zephyr/intc2.h>

#define EMUL_INTC_NLINES      8
#define EMUL_INTC_WIDE_NLINES 32

/* Emulated controller "registers", one instance per DT controller node */
struct emul_intc_regs {
	uint32_t enable;
	uint32_t pending;
	uint8_t prio[EMUL_INTC_WIDE_NLINES];
	bool inited;
	uint32_t eoi_cnt;
	/* INTC2_LINE_* attributes reported for every line */
	uint32_t line_flags;
#ifdef CONFIG_INTC2_AFFINITY
	uint32_t cpumask[EMUL_INTC_WIDE_NLINES];
#endif
};

/*
 * Raise line @a line of @a node. Mimics hardware: when the line is
 * enabled, the aggregated output propagates pending up the parent edge.
 */
void emul_intc_raise(const struct intc2_node *node, uint32_t line);

static inline struct emul_intc_regs *emul_intc_regs(const struct intc2_node *node)
{
	return (struct emul_intc_regs *)node->config;
}

#endif /* TESTS_KERNEL_INTC2_SRC_EMUL_INTC_H_ */
```
